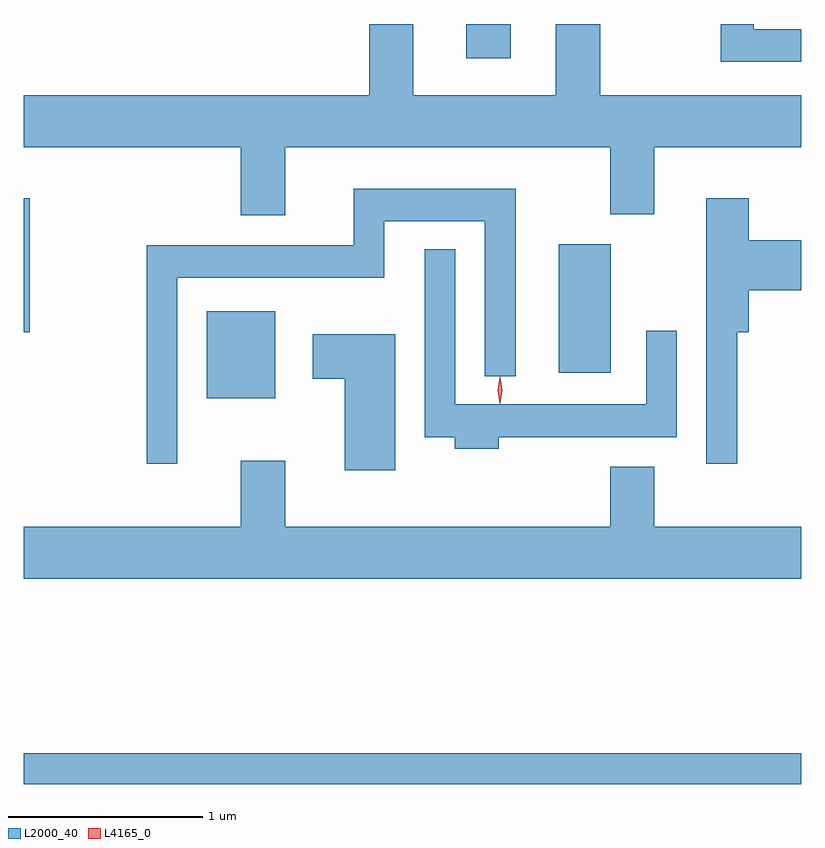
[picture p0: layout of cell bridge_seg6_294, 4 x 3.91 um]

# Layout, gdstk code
import gdstk
lib = gdstk.Library(unit=1e-6, precision=1e-09)
def R(c, l, rs):  # rectangles x0, y0, x1, y1
    for r in rs: c.add(gdstk.rectangle(r[:2], r[2:], *l))
def P(c, l, *ps):  # polygons
    for p in ps: c.add(gdstk.Polygon(p, *l))
L2000_40 = (2000, 40)
L4165_0 = (4165, 0)

bridge_seg6_294 = lib.new_cell('bridge_seg6_294')
R(bridge_seg6_294, L2000_40, [(1245.174,1560.081,1249.174,1560.239), (1246.116,1562.066,1246.469,1562.514), (1247.926,1562.196,1248.194,1562.859), (1245.174,1562.406,1245.204,1563.094), (1247.451,1563.816,1247.679,1563.991)])
P(bridge_seg6_294, L2000_40, [(1245.174,1563.356),(1246.291,1563.356),(1246.291,1563.006),(1246.519,1563.006),(1246.519,1563.356),(1248.191,1563.356),(1248.191,1563.011),(1248.419,1563.011),(1248.419,1563.356),(1249.174,1563.356),(1249.174,1563.624),(1248.139,1563.624),(1248.139,1563.991),(1247.911,1563.991),(1247.911,1563.624),(1247.179,1563.624),(1247.179,1563.991),(1246.951,1563.991),(1246.951,1563.624),(1245.174,1563.624)],
  [(1249.174,1563.964),(1248.929,1563.964),(1248.929,1563.991),(1248.761,1563.991),(1248.761,1563.796),(1249.174,1563.796)],
  [(1245.964,1562.686),(1247.029,1562.686),(1247.029,1562.976),(1247.546,1562.976),(1247.546,1562.178),(1247.704,1562.178),(1247.704,1563.144),(1246.871,1563.144),(1246.871,1562.854),(1245.806,1562.854),(1245.806,1561.728),(1245.964,1561.728)],
  [(1248.844,1562.406),(1248.904,1562.406),(1248.904,1562.621),(1249.174,1562.621),(1249.174,1562.879),(1248.904,1562.879),(1248.904,1563.094),(1248.686,1563.094),(1248.686,1561.728),(1248.844,1561.728)],
  [(1247.619,1561.866),(1248.534,1561.866),(1248.534,1562.413),(1248.376,1562.413),(1248.376,1562.034),(1247.394,1562.034),(1247.394,1562.833),(1247.236,1562.833),(1247.236,1561.866),(1247.391,1561.866),(1247.391,1561.806),(1247.619,1561.806)],
  [(1247.084,1562.394),(1246.661,1562.394),(1246.661,1562.166),(1246.826,1562.166),(1246.826,1561.696),(1247.084,1561.696)],
  [(1249.174,1561.404),(1248.419,1561.404),(1248.419,1561.714),(1248.191,1561.714),(1248.191,1561.404),(1246.519,1561.404),(1246.519,1561.744),(1246.291,1561.744),(1246.291,1561.404),(1245.174,1561.404),(1245.174,1561.136),(1249.174,1561.136)])
P(bridge_seg6_294, L4165_0, [(1247.625,1562.037),(1247.625,1562.038),(1247.615,1562.107),(1247.625,1562.176),(1247.625,1562.176),(1247.626,1562.176),(1247.635,1562.107),(1247.626,1562.038)],
  [(1247.622,1562.04),(1247.622,1562.04),(1247.613,1562.106),(1247.622,1562.172),(1247.623,1562.173),(1247.623,1562.172),(1247.632,1562.106),(1247.623,1562.04)])

lib.write_gds('bridge_seg6_294.gds')
